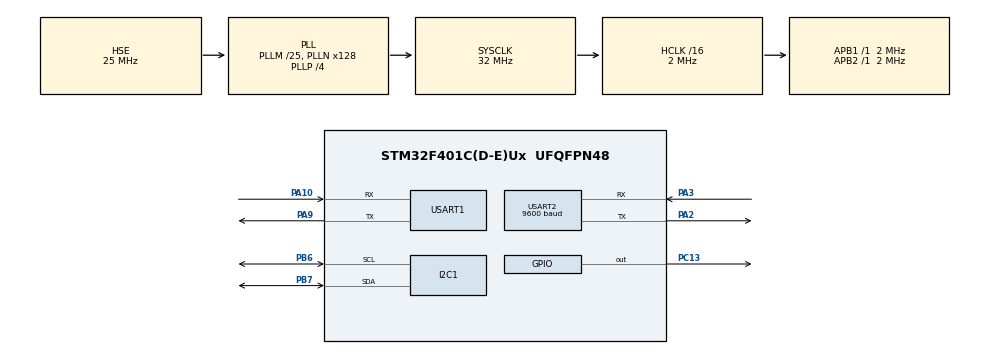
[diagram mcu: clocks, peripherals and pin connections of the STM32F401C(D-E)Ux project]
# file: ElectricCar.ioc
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Dma.Request0=USART1_RX
Dma.Request1=USART1_TX
Dma.USART1_RX.0.Direction=DMA_PERIPH_TO_MEMORY
Dma.USART1_RX.0.FIFOMode=DMA_FIFOMODE_DISABLE
Dma.USART1_RX.0.Instance=DMA2_Stream2
Dma.USART1_RX.0.MemDataAlignment=DMA_MDATAALIGN_BYTE
Dma.USART1_RX.0.MemInc=DMA_MINC_ENABLE
Dma.USART1_RX.0.Mode=DMA_CIRCULAR
Dma.USART1_RX.0.PeriphDataAlignment=DMA_PDATAALIGN_BYTE
Dma.USART1_RX.0.PeriphInc=DMA_PINC_DISABLE
Dma.USART1_RX.0.Priority=DMA_PRIORITY_LOW
Dma.USART1_TX.1.Direction=DMA_MEMORY_TO_PERIPH
Dma.USART1_TX.1.FIFOMode=DMA_FIFOMODE_DISABLE
Dma.USART1_TX.1.Instance=DMA2_Stream7
Dma.USART1_TX.1.MemDataAlignment=DMA_MDATAALIGN_BYTE
Dma.USART1_TX.1.MemInc=DMA_MINC_ENABLE
Dma.USART1_TX.1.Mode=DMA_NORMAL
Dma.USART1_TX.1.PeriphDataAlignment=DMA_PDATAALIGN_BYTE
Dma.USART1_TX.1.PeriphInc=DMA_PINC_DISABLE
Dma.USART1_TX.1.Priority=DMA_PRIORITY_LOW
FREERTOS.BinarySemaphores01=gnssSem,Dynamic,NULL;lockSem,Dynamic,NULL
FREERTOS.INCLUDE_vTaskDelayUntil=1
FREERTOS.Tasks01=lockTask,2,1024,StartLockTask,Default,NULL,Dynamic,NULL,NULL;reportTask,0,1024,StartReportTask,Default,NULL,Dynamic,NULL,NULL
Mcu.Family=STM32F4
Mcu.Name=STM32F401C(D-E)Ux
Mcu.Package=UFQFPN48
NVIC.DMA2_Stream2_IRQn=true\:5\:0\:false\:false\:true\:true\:false\:true\:true
NVIC.DMA2_Stream7_IRQn=true\:5\:0\:false\:false\:true\:true\:false\:true\:true
NVIC.PriorityGroup=NVIC_PRIORITYGROUP_4
NVIC.TIM1_TRG_COM_TIM11_IRQn=true\:15\:0\:false\:false\:true\:false\:false\:true\:true
NVIC.TimeBase=TIM1_TRG_COM_TIM11_IRQn
NVIC.TimeBaseIP=TIM11
NVIC.USART1_IRQn=true\:5\:0\:false\:false\:true\:true\:true\:true\:true
PA10.Mode=Asynchronous
PA10.Signal=USART1_RX
PA13.Mode=Trace_Asynchronous_SW
PA13.Signal=SYS_JTMS-SWDIO
PA14.Mode=Trace_Asynchronous_SW
PA14.Signal=SYS_JTCK-SWCLK
PA2.Mode=Asynchronous
PA2.Signal=USART2_TX
PA3.Mode=Asynchronous
PA3.Signal=USART2_RX
PA9.Mode=Asynchronous
PA9.Signal=USART1_TX
PB3.Mode=Trace_Asynchronous_SW
PB3.Signal=SYS_JTDO-SWO
PB6.Mode=I2C
PB6.Signal=I2C1_SCL
PB7.Mode=I2C
PB7.Signal=I2C1_SDA
PC13-ANTI_TAMP.PinState=GPIO_PIN_SET
PC13-ANTI_TAMP.Signal=GPIO_Output
PH0\ -\ OSC_IN.Mode=HSE-External-Oscillator
PH0\ -\ OSC_IN.Signal=RCC_OSC_IN
PH1\ -\ OSC_OUT.Mode=HSE-External-Oscillator
PH1\ -\ OSC_OUT.Signal=RCC_OSC_OUT
ProjectManager.HeapSize=0x200
ProjectManager.StackSize=0x400
ProjectManager.TargetToolchain=Makefile
RCC.48MHZClocksFreq_Value=32000000
RCC.AHBCLKDivider=RCC_SYSCLK_DIV16
RCC.AHBFreq_Value=2000000
RCC.APB1Freq_Value=2000000
RCC.APB1TimFreq_Value=2000000
RCC.APB2Freq_Value=2000000
RCC.APB2TimFreq_Value=2000000
RCC.CortexFreq_Value=2000000
RCC.HCLKFreq_Value=2000000
RCC.HSE_VALUE=25000000
RCC.HSI_VALUE=16000000
RCC.LSE_VALUE=32768
RCC.PLLM=25
RCC.PLLN=128
RCC.PLLP=RCC_PLLP_DIV4
RCC.PLLSourceVirtual=RCC_PLLSOURCE_HSE
RCC.SYSCLKFreq_VALUE=32000000
RCC.SYSCLKSource=RCC_SYSCLKSOURCE_PLLCLK
RCC.VCOOutputFreq_Value=128000000
USART1.VirtualMode=VM_ASYNC
USART2.BaudRate=9600
USART2.VirtualMode=VM_ASYNC
VP_FREERTOS_VS_CMSIS_V1.Mode=CMSIS_V1
VP_SYS_VS_tim11.Mode=TIM11
board=custom

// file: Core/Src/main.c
/* USER CODE BEGIN Header */
/**
  ******************************************************************************
  * @file           : main.c
  * @brief          : Main program body
  ******************************************************************************
  * @attention
  *
  * Copyright (c) 2022 STMicroelectronics.
  * All rights reserved.
  *
  * This software is licensed under terms that can be found in the LICENSE file
  * in the root directory of this software component.
  * If no LICENSE file comes with this software, it is provided AS-IS.
  *
  ******************************************************************************
  */
/* USER CODE END Header */
#include "main.h"
#include "cmsis_os.h"
#include "dma.h"
#include "i2c.h"
#include "usart.h"
#include "gpio.h"

/* USER CODE BEGIN Includes */
#include "stdio.h"
#include "ML302.h"
/* USER CODE END Includes */

/* USER CODE BEGIN PM */
asm(".global _printf_float");
/* USER CODE END PM */

void SystemClock_Config(void);
void MX_FREERTOS_Init(void);

int main(void)
{

  /* MCU Configuration--------------------------------------------------------*/

  /* Reset of all peripherals, Initializes the Flash interface and the Systick. */
  HAL_Init();

  /* Configure the system clock */
  SystemClock_Config();

  /* Initialize all configured peripherals */
  MX_GPIO_Init();
  MX_DMA_Init();
  MX_I2C1_Init();
  MX_USART1_UART_Init();
  MX_USART2_UART_Init();
  /* USER CODE BEGIN 2 */
  ML302_Init();
  /* USER CODE END 2 */

  /* Call init function for freertos objects (in freertos.c) */
  MX_FREERTOS_Init();

  /* Start scheduler */
  osKernelStart();

  /* We should never get here as control is now taken by the scheduler */
  /* Infinite loop */
  while (1)
  {

  }
}

void SystemClock_Config(void)
{
  RCC_OscInitTypeDef RCC_OscInitStruct = {0};
  RCC_ClkInitTypeDef RCC_ClkInitStruct = {0};

  /** Configure the main internal regulator output voltage
  */
  __HAL_RCC_PWR_CLK_ENABLE();
  __HAL_PWR_VOLTAGESCALING_CONFIG(PWR_REGULATOR_VOLTAGE_SCALE2);

  /** Initializes the RCC Oscillators according to the specified parameters
  * in the RCC_OscInitTypeDef structure.
  */
  RCC_OscInitStruct.OscillatorType = RCC_OSCILLATORTYPE_HSE;
  RCC_OscInitStruct.HSEState = RCC_HSE_ON;
  RCC_OscInitStruct.PLL.PLLState = RCC_PLL_ON;
  RCC_OscInitStruct.PLL.PLLSource = RCC_PLLSOURCE_HSE;
  RCC_OscInitStruct.PLL.PLLM = 25;
  RCC_OscInitStruct.PLL.PLLN = 128;
  RCC_OscInitStruct.PLL.PLLP = RCC_PLLP_DIV4;
  RCC_OscInitStruct.PLL.PLLQ = 4;
  if (HAL_RCC_OscConfig(&RCC_OscInitStruct) != HAL_OK)
  {
    Error_Handler();
  }

  /** Initializes the CPU, AHB and APB buses clocks
  */
  RCC_ClkInitStruct.ClockType = RCC_CLOCKTYPE_HCLK|RCC_CLOCKTYPE_SYSCLK
                              |RCC_CLOCKTYPE_PCLK1|RCC_CLOCKTYPE_PCLK2;
  RCC_ClkInitStruct.SYSCLKSource = RCC_SYSCLKSOURCE_PLLCLK;
  RCC_ClkInitStruct.AHBCLKDivider = RCC_SYSCLK_DIV16;
  RCC_ClkInitStruct.APB1CLKDivider = RCC_HCLK_DIV1;
  RCC_ClkInitStruct.APB2CLKDivider = RCC_HCLK_DIV1;

  if (HAL_RCC_ClockConfig(&RCC_ClkInitStruct, FLASH_LATENCY_0) != HAL_OK)
  {
    Error_Handler();
  }
}

void HAL_TIM_PeriodElapsedCallback(TIM_HandleTypeDef *htim)
{
  if (htim->Instance == TIM11) {
    HAL_IncTick();
  }
}

void Error_Handler(void)
{
  __disable_irq();
  while (1)
  {
  }
}

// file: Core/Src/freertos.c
/* USER CODE BEGIN Header */
/**
 ******************************************************************************
 * File Name          : freertos.c
 * Description        : Code for freertos applications
 ******************************************************************************
 * @attention
 *
 * Copyright (c) 2022 STMicroelectronics.
 * All rights reserved.
 *
 * This software is licensed under terms that can be found in the LICENSE file
 * in the root directory of this software component.
 * If no LICENSE file comes with this software, it is provided AS-IS.
 *
 ******************************************************************************
 */
/* USER CODE END Header */

#include "FreeRTOS.h"
#include "task.h"
#include "main.h"
#include "cmsis_os.h"

/* USER CODE BEGIN Includes */
#include "stdio.h"
#include "usart.h"
#include "MPU6050.h"
#include "string.h"
#include "ML302.h"
/* USER CODE END Includes */

/* USER CODE BEGIN Variables */
extern double longitude;
extern double latidude;
extern SType lock_type;

uint8_t lock_cmd[7] = {0xFD, 0x8, 0x37, 0x44, S_NULL, 0x5F, 0xDF};
char json[512];
/* USER CODE END Variables */
osThreadId lockTaskHandle;
osThreadId reportTaskHandle;
osSemaphoreId gnssSemHandle;
osSemaphoreId lockSemHandle;

void StartLockTask(void const * argument);
void StartReportTask(void const * argument);

void MX_FREERTOS_Init(void); /* (MISRA C 2004 rule 8.1) */

/* GetIdleTaskMemory prototype (linked to static allocation support) */
void vApplicationGetIdleTaskMemory( StaticTask_t **ppxIdleTaskTCBBuffer, StackType_t **ppxIdleTaskStackBuffer, uint32_t *pulIdleTaskStackSize );

/* USER CODE BEGIN GET_IDLE_TASK_MEMORY */
static StaticTask_t xIdleTaskTCBBuffer;
static StackType_t xIdleStack[configMINIMAL_STACK_SIZE];

void vApplicationGetIdleTaskMemory(StaticTask_t **ppxIdleTaskTCBBuffer, StackType_t **ppxIdleTaskStackBuffer, uint32_t *pulIdleTaskStackSize)
{
  *ppxIdleTaskTCBBuffer = &xIdleTaskTCBBuffer;
  *ppxIdleTaskStackBuffer = &xIdleStack[0];
  *pulIdleTaskStackSize = configMINIMAL_STACK_SIZE;
  /* place for user code */
}
/* USER CODE END GET_IDLE_TASK_MEMORY */

void MX_FREERTOS_Init(void) {
  /* USER CODE BEGIN Init */
  MPU6050_Init();
  /* USER CODE END Init */

  /* Create the semaphores(s) */
  /* definition and creation of gnssSem */
  osSemaphoreDef(gnssSem);
  gnssSemHandle = osSemaphoreCreate(osSemaphore(gnssSem), 1);

  /* definition and creation of lockSem */
  osSemaphoreDef(lockSem);
  lockSemHandle = osSemaphoreCreate(osSemaphore(lockSem), 1);

  /* Create the thread(s) */
  /* definition and creation of lockTask */
  osThreadDef(lockTask, StartLockTask, osPriorityHigh, 0, 1024);
  lockTaskHandle = osThreadCreate(osThread(lockTask), NULL);

  /* definition and creation of reportTask */
  osThreadDef(reportTask, StartReportTask, osPriorityNormal, 0, 1024);
  reportTaskHandle = osThreadCreate(osThread(reportTask), NULL);

}

void StartLockTask(void const * argument)
{
  /* USER CODE BEGIN StartLockTask */
  /* Infinite loop */
  for (;;)
  {
    if (xSemaphoreTake(lockSemHandle, 10) != pdTRUE)
      continue;
    // Control Lock
    lock_cmd[4] = lock_type;
    HAL_UART_Transmit(&huart2, lock_cmd, 7, 0x7fff);
    osDelay(1);
  }
  /* USER CODE END StartLockTask */
}

void StartReportTask(void const * argument)
{
  /* USER CODE BEGIN StartReportTask */
  /* Infinite loop */
  for (;;)
  {
    vTaskDelay(3000);
    ML302_QueryGNSS();
    while (xSemaphoreTake(gnssSemHandle, 10) != pdTRUE)
      vTaskDelay(10);
    struct MPU6050_Data out;
    MPU6050_Read_Reg(&out);
    sprintf(
        (char *)json,
        "{\\\"latitude\\\":%f,\\\"longitude\\\":%f,\
\\\"accelerationX\\\":%f,\\\"accelerationY\\\":%f,\\\"accelerationZ\\\":%f,\
\\\"angularVelocityX\\\":%f,\\\"angularVelocityY\\\":%f,\\\"angularVelocityZ\\\":%f}",
        latidude, longitude,
        out.ACCEL_X, out.ACCEL_Y, out.ACCEL_Z,
        out.GYRO_X, out.GYRO_Y, out.GYRO_Z);
    ML302_Publish(json);
  }
  /* USER CODE END StartReportTask */
}
